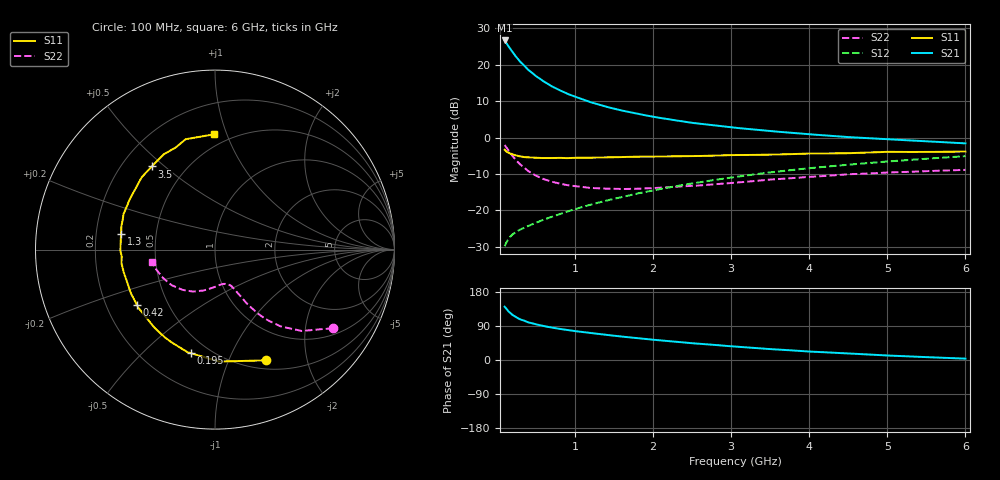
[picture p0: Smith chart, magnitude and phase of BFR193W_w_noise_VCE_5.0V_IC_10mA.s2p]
! Infineon Technologies  Discrete & RF Semiconductors
! BFR193W
! VCE =  5.0 V,  IC =  10 mA
! Common Emitter S-Parameters:  Nov 2015
# GHz  S  MA  R  50
!  f  S11  S21  S12  S22
! GHz  MAG  ANG  MAG  ANG  MAG  ANG  MAG  ANG
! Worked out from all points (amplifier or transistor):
!   192 points, 100 MHz to 6 GHz, reference 50 ohm
!   highest |S21| = 26.7 dB at 100 MHz (marker M1)
!   |S21| within 3 dB of that: start of sweep to 194.7 MHz
!   unconditionally stable (mu >= 1): 1.023 GHz to 2.562 GHz
!   at 440 MHz: K = 0.71, MSG = 21.0 dB, |S12| = -24.0 dB
!   at 1.7 GHz: K = 1.04, MAG = 10.2 dB, |S12| = -15.9 dB
!   at 6 GHz: K = 0.89, MSG = 1.8 dB, |S12| = -5.1 dB
!   lowest NFmin = 1.30 dB at 450 MHz
!   S11 on the Smith chart (normalised r, x): 100 MHz: 0.60, -1.38; 195 MHz: 0.40, -0.71; 420 MHz: 0.33, -0.29; 1.3 GHz: 0.31, +0.07; 3.5 GHz: 0.32, +0.45; 6 GHz: 0.41, +0.90
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0.1  0.6797 -65.2  21.63 140.7  0.0321 61.7  0.7895 -33.7
0.15  0.6241 -88.0  17.94 128.0  0.0409 54.8  0.6607 -43.3
0.195  0.5926 -103.2  15.3 120.0  0.0458 51.5  0.5701 -48.9
0.2  0.5918 -105.0  15.03 118.9  0.0464 51.2  0.5604 -49.6
0.24  0.5704 -115.2  13.18 113.9  0.0498 49.6  0.497 -52.9
0.26  0.5632 -119.8  12.39 111.5  0.0514 49.1  0.4704 -54.3
0.3  0.5507 -127.7  11.02 107.2  0.0543 48.9  0.4269 -56.3
0.4  0.536 -142.8  8.582 99.5  0.0607 49.9  0.3477 -59.5
0.42  0.5332 -144.7  8.262 98.6  0.062 50.3  0.3381 -59.8
0.5  0.5282 -152.5  7.011 94.0  0.0671 51.7  0.2996 -61.1
0.6  0.5226 -160.1  5.916 89.5  0.0744 53.5  0.268 -62.7
0.7  0.524 -166.2  5.094 85.6  0.0809 55.6  0.2474 -63.6
0.9  0.5213 -175.8  4.012 79.1  0.0959 58.5  0.2215 -65.8
1.1  0.5269 177.0  3.353 73.9  0.1113 60.6  0.2087 -68.9
1.3  0.5305 170.8  2.857 68.9  0.1274 61.9  0.2005 -72.3
1.6  0.539 163.0  2.354 61.8  0.1525 63.0  0.196 -77.7
2.08  0.5486 152.1  1.871 52.1  0.1949 63.1  0.2039 -87.5
3.1  0.5747 133.7  1.348 34.8  0.2916 58.9  0.2418 -108.6
3.5  0.582 127.2  1.228 28.8  0.332 56.4  0.2644 -117.8
4.1  0.6033 116.8  1.09 21.4  0.3877 51.4  0.292 -131.4
5.1  0.6349 103.3  0.937 11.1  0.477 43.1  0.3329 -153.8
6  0.6426 90.4  0.832 3.6  0.5545 34.7  0.3595 -168.7
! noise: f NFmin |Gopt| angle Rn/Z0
0.45  1.3  0.22  143  0.11
0.9  1.3  0.34  160  0.11
1.8  2.05  0.54  -153  0.14
